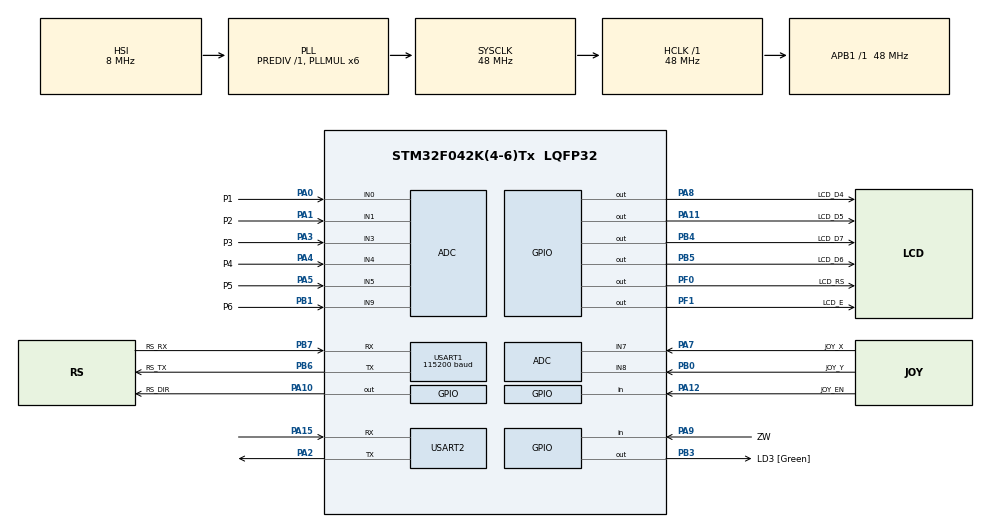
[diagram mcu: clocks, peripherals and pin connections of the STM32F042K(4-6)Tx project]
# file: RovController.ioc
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ADC.ContinuousConvMode=ENABLE
ADC.DMAContinuousRequests=ENABLE
ADC.EOCSelection=ADC_EOC_SEQ_CONV
ADC.Overrun=ADC_OVR_DATA_OVERWRITTEN
ADC.SamplingTime=ADC_SAMPLETIME_13CYCLES_5
Dma.ADC.0.Direction=DMA_PERIPH_TO_MEMORY
Dma.ADC.0.Instance=DMA1_Channel1
Dma.ADC.0.MemDataAlignment=DMA_MDATAALIGN_HALFWORD
Dma.ADC.0.MemInc=DMA_MINC_ENABLE
Dma.ADC.0.Mode=DMA_CIRCULAR
Dma.ADC.0.PeriphDataAlignment=DMA_PDATAALIGN_HALFWORD
Dma.ADC.0.PeriphInc=DMA_PINC_DISABLE
Dma.ADC.0.Priority=DMA_PRIORITY_LOW
Dma.Request0=ADC
Mcu.Family=STM32F0
Mcu.Name=STM32F042K(4-6)Tx
Mcu.Package=LQFP32
NVIC.ADC1_IRQn=true\:0\:0\:false\:false\:true\:true
NVIC.DMA1_Channel1_IRQn=true\:0\:0\:false\:false\:true\:false
PA0.GPIO_Label=P1
PA0.Mode=IN0
PA0.Signal=ADC_IN0
PA1.GPIO_Label=P2
PA1.Mode=IN1
PA1.Signal=ADC_IN1
PA10.GPIO_Label=RS_DIR
PA10.Signal=GPIO_Output
PA11.GPIO_Label=LCD_D5
PA11.Signal=GPIO_Output
PA12.GPIO_Label=JOY_EN
PA12.GPIO_PuPd=GPIO_PULLUP
PA12.Signal=GPIO_Input
PA13.GPIO_Label=SWDIO
PA13.Mode=Serial_Wire
PA13.Signal=SYS_SWDIO
PA14.GPIO_Label=SWCLK
PA14.Mode=Serial_Wire
PA14.Signal=SYS_SWCLK
PA15.Mode=Asynchronous
PA15.Signal=USART2_RX
PA2.Mode=Asynchronous
PA2.Signal=USART2_TX
PA3.GPIO_Label=P3
PA3.Mode=IN3
PA3.Signal=ADC_IN3
PA4.GPIO_Label=P4
PA4.Mode=IN4
PA4.Signal=ADC_IN4
PA5.GPIO_Label=P5
PA5.Mode=IN5
PA5.Signal=ADC_IN5
PA7.GPIO_Label=JOY_X
PA7.Mode=IN7
PA7.Signal=ADC_IN7
PA8.GPIO_Label=LCD_D4
PA8.Signal=GPIO_Output
PA9.GPIO_Label=ZW
PA9.GPIO_PuPd=GPIO_PULLUP
PA9.Signal=GPIO_Input
PB0.GPIO_Label=JOY_Y
PB0.Mode=IN8
PB0.Signal=ADC_IN8
PB1.GPIO_Label=P6
PB1.Mode=IN9
PB1.Signal=ADC_IN9
PB3.GPIO_Label=LD3 [Green]
PB3.Signal=GPIO_Output
PB4.GPIO_Label=LCD_D7
PB4.Signal=GPIO_Output
PB5.GPIO_Label=LCD_D6
PB5.Signal=GPIO_Output
PB6.GPIO_Label=RS_TX
PB6.GPIO_PuPd=GPIO_NOPULL
PB6.Mode=Asynchronous
PB6.Signal=USART1_TX
PB7.GPIO_Label=RS_RX
PB7.GPIO_PuPd=GPIO_NOPULL
PB7.Mode=Asynchronous
PB7.Signal=USART1_RX
PF0-OSC_IN.GPIO_Label=LCD_RS
PF0-OSC_IN.Signal=GPIO_Output
PF1-OSC_OUT.GPIO_Label=LCD_E
PF1-OSC_OUT.Signal=GPIO_Output
ProjectManager.HeapSize=0x200
ProjectManager.StackSize=0x400
ProjectManager.TargetToolchain=SW4STM32
RCC.AHBFreq_Value=48000000
RCC.APB1Freq_Value=48000000
RCC.APB1TimFreq_Value=48000000
RCC.HCLKFreq_Value=48000000
RCC.PLLMUL=RCC_PLL_MUL6
RCC.SYSCLKFreq_VALUE=48000000
RCC.SYSCLKSource=RCC_SYSCLKSOURCE_PLLCLK
TIM3.CounterMode=TIM_COUNTERMODE_DOWN
TIM3.Period=0xFFFF
TIM3.Prescaler=47
USART1.BaudRate=115200
USART1.DataInvertParam=ADVFEATURE_DATAINV_DISABLE
USART1.Parity=PARITY_NONE
USART1.TxPinLevelInvertParam=ADVFEATURE_TXINV_DISABLE
USART1.VirtualMode-Asynchronous=VM_ASYNC
USART1.WordLength=WORDLENGTH_8B
USART2.VirtualMode-Asynchronous=VM_ASYNC
VP_TIM3_VS_ClockSourceINT.Mode=Internal
board=NUCLEO-F042K6

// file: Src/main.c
/* USER CODE BEGIN Header */
/**
 ******************************************************************************
 * @file           : main.c
 * @brief          : Main program body
 ******************************************************************************
 ** This notice applies to any and all portions of this file
 * that are not between comment pairs USER CODE BEGIN and
 * USER CODE END. Other portions of this file, whether
 * inserted by the user or by software development tools
 * are owned by their respective copyright owners.
 *
 * COPYRIGHT(c) 2019 STMicroelectronics
 *
 * Redistribution and use in source and binary forms, with or without modification,
 * are permitted provided that the following conditions are met:
 *   1. Redistributions of source code must retain the above copyright notice,
 *      this list of conditions and the following disclaimer.
 *   2. Redistributions in binary form must reproduce the above copyright notice,
 *      this list of conditions and the following disclaimer in the documentation
 *      and/or other materials provided with the distribution.
 *   3. Neither the name of STMicroelectronics nor the names of its contributors
 *      may be used to endorse or promote products derived from this software
 *      without specific prior written permission.
 *
 * THIS SOFTWARE IS PROVIDED BY THE COPYRIGHT HOLDERS AND CONTRIBUTORS "AS IS"
 * AND ANY EXPRESS OR IMPLIED WARRANTIES, INCLUDING, BUT NOT LIMITED TO, THE
 * IMPLIED WARRANTIES OF MERCHANTABILITY AND FITNESS FOR A PARTICULAR PURPOSE ARE
 * DISCLAIMED. IN NO EVENT SHALL THE COPYRIGHT HOLDER OR CONTRIBUTORS BE LIABLE
 * FOR ANY DIRECT, INDIRECT, INCIDENTAL, SPECIAL, EXEMPLARY, OR CONSEQUENTIAL
 * DAMAGES (INCLUDING, BUT NOT LIMITED TO, PROCUREMENT OF SUBSTITUTE GOODS OR
 * SERVICES; LOSS OF USE, DATA, OR PROFITS; OR BUSINESS INTERRUPTION) HOWEVER
 * CAUSED AND ON ANY THEORY OF LIABILITY, WHETHER IN CONTRACT, STRICT LIABILITY,
 * OR TORT (INCLUDING NEGLIGENCE OR OTHERWISE) ARISING IN ANY WAY OUT OF THE USE
 * OF THIS SOFTWARE, EVEN IF ADVISED OF THE POSSIBILITY OF SUCH DAMAGE.
 *
 ******************************************************************************
 */
/* USER CODE END Header */

#include "main.h"

/* USER CODE BEGIN Includes */
#include "lcd.h"
#include "rs485.h"
#include "inputs.h"
#include "frame_parser.h"
/* USER CODE END Includes */

/* USER CODE BEGIN PD */
#define BUFF_SIZE 512
#define RX_LENGTH 10 // rpi wysle komunikt do 50 znakow dopelniony spacjami

/* USER CODE END PD */

UART_HandleTypeDef huart1;
UART_HandleTypeDef huart2;

void SystemClock_Config(void);
static void MX_GPIO_Init(void);
static void MX_DMA_Init(void);
static void MX_USART1_UART_Init(void);
static void MX_ADC_Init(void);
static void MX_USART2_UART_Init(void);
static void MX_TIM3_Init(void);

/* USER CODE BEGIN 0 */

// Callbacki od USARTow
void HAL_UART_TxCpltcallback(UART_HandleTypeDef *huart) {
	if (huart == &huart1) {

	} else if (huart == &huart2) {

	} else {
		// b��d? xd
	}
}
void HAL_UART_RxCpltCallback(UART_HandleTypeDef *huart) {
	if (huart == &huart1) {

	} else if (huart == &huart2) {

	} else {
		// b��d? xd
	}
}

// voltage 8 znakow
void Display(pots_t axes, buttons_t btns, uint8_t* rx_voltage)
{
	LCD1602_clear();
	if (btns.display_motors == 0) {
		if (btns.joy_lock != 0) {
			LCD1602_setCursor(1, 1);
			LCD1602_print("Joy lock!");
		}else{
			LCD1602_setCursor(1, 1);
			LCD1602_PrintInt(axes.joy_x * 100);
			LCD1602_setCursor(1, 7);
			LCD1602_PrintInt(axes.joy_y * 100);
		}

		LCD1602_setCursor(1, 13);
		LCD1602_PrintInt(axes.pot1 * 100);
		LCD1602_setCursor(2, 1);
		LCD1602_print("V_Bat: ");

		LCD1602_print((char*)rx_voltage);

	}else{
		LCD1602_setCursor(1, 1);
		LCD1602_PrintInt(axes.pot1 * 100);
		LCD1602_setCursor(1, 7);
		LCD1602_PrintInt(axes.pot2 * 100);
		LCD1602_setCursor(1, 13);
		LCD1602_PrintInt(axes.pot3 * 100);
		LCD1602_setCursor(2, 1);
		LCD1602_PrintInt(axes.pot4 * 100);
		LCD1602_setCursor(2, 7);
		LCD1602_PrintInt(axes.pot5 * 100);
		LCD1602_setCursor(2, 13);
		LCD1602_PrintInt(axes.pot6 * 100);
	}

}

void str_clear(uint8_t *str, uint32_t length)
{
	while(length-- > 0)
	{
		str[0] = 0;
		str++;
	}

}

/* USER CODE END 0 */

int main(void)
{
  /* USER CODE BEGIN 1 */

	uint8_t msg_buff[BUFF_SIZE];
	uint32_t msg_buff_length;

	uint8_t rx_data[BUFF_SIZE];

	uint16_t adc_reads_raw[8];
	pots_t adc_reads; // Surowe dane z adc
	pots_t filtered;  // Dane przefiltrowane
	pots_t axes; 	  // Zamienione na zakres <-1 : 1> bez deadzone
	pots_t axes_deadzone;	  // Zamienione na zakres <-1 : 1> z deadzonem, do wyswietlenia

	buttons_t buttons; // Stany przycisków

	pots_zero(&adc_reads);
	pots_zero(&filtered);
	pots_zero(&axes);
	pots_zero(&axes_deadzone);

	// pomiar czasu
	uint32_t tick_display = 0; 	// czas odliczający do kolejnego wyświetlenia
	uint32_t tick_vbat = 0; 	// czas do kolejnego apytania o baterie

	str_clear(rx_data, BUFF_SIZE);

  /* USER CODE END 1 */

  /* MCU Configuration--------------------------------------------------------*/

  /* Reset of all peripherals, Initializes the Flash interface and the Systick. */
  HAL_Init();

  /* Configure the system clock */
  SystemClock_Config();

  /* Initialize all configured peripherals */
  MX_GPIO_Init();
  MX_DMA_Init();
  MX_USART1_UART_Init();
  MX_ADC_Init();
  MX_USART2_UART_Init();
  MX_TIM3_Init();
  /* USER CODE BEGIN 2 */

	LCD1602_Begin4BIT();
	LCD1602_noCursor();
	LCD1602_noBlink();

	pots_start(&adc_reads_raw);
	uint32_t tick = 0;
  /* USER CODE END 2 */

  /* Infinite loop */
  /* USER CODE BEGIN WHILE */
	volatile uint8_t tx_buffer[200];
	while (1) {
		MX_USART1_UART_Init();
		float* pots_adc = (float*)&adc_reads;

		for(int i=0; i<8; i++)
			pots_adc[i] = adc_reads_raw[i];

		read_buttons(&buttons);

		pots_filter(&adc_reads, &filtered, p_def, q_def);

		if(buttons.joy_lock != 0){
			// Joy disabledtoken
			axes.joy_x = 0.0f;
			axes.joy_y = 0.0f;

			axes_deadzone.joy_x = 0.0f;
			axes_deadzone.joy_y = 0.0f;
		}else{
			// Joy enabled
			axes.joy_x = -calculate_axis(filtered.joy_x, 0.0f);
			axes.joy_y = calculate_axis(filtered.joy_y, 0.0f);

			axes_deadzone.joy_x = -calculate_axis(filtered.joy_x, 0.08f);
			axes_deadzone.joy_y = calculate_axis(filtered.joy_y, 0.08f);
		}

		axes_deadzone.pot1 = calculate_axis(filtered.pot1, 0.02f);
		axes.pot1 = calculate_axis(filtered.pot1, 0.0f);

		axes_deadzone.pot2 = calculate_axis(filtered.pot2, 0.02f);
		axes.pot2 = calculate_axis(filtered.pot2, 0.0f);

		axes_deadzone.pot3 = calculate_axis(filtered.pot3, 0.02f);
		axes.pot3 = calculate_axis(filtered.pot3, 0.0f);

		axes_deadzone.pot4 = calculate_axis(filtered.pot4, 0.02f);
		axes.pot4 = calculate_axis(filtered.pot4, 0.0f);

		axes_deadzone.pot5 = calculate_axis(filtered.pot5, 0.02f);
		axes.pot5 = calculate_axis(filtered.pot5, 0.0f);

		axes_deadzone.pot6 = calculate_axis(filtered.pot6, 0.02f);
		axes.pot6 = calculate_axis(filtered.pot6, 0.0f);

		float z3 = axes.pot6;
		z3 = axes.pot1 * axes.pot6;

		// Wysyłanie do BlueRova wartości
		/*msg_buff_length = sprintf(msg_buff,
				"SET;%.3f;%.3f;%.3f;%.3f;%.3f;%.3f;%.3f;%.3f;\n", // 3 decimal point precision
				axes.joy_x, axes.joy_y,
				axes.pot1,	axes.pot2, axes.pot3,
				axes.pot4, axes.pot5, z3);
*/
		controll_data_t ctrl;

		ctrl.thrusters[0] = axes.pot1;
		ctrl.thrusters[1] = axes.pot2;
		ctrl.thrusters[2] = axes.pot3;
		ctrl.thrusters[3] = axes.pot4;
		ctrl.thrusters[4] = axes.pot5;

		volatile frame_t frame = Parser_CreateControlFrame(&ctrl);

		Parser_CreateTxBuffer(&frame, tx_buffer, 200);

		RS_Transmit(&huart1, tx_buffer, 200);

		// 3s (60 tickow po 50ms)
		if(tick - tick_vbat > 20)
		{
			HAL_Delay(50);
			Parser_CreateVoltageRequest(tx_buffer, 200);
			RS_Transmit(&huart1, tx_buffer, 200);

			volatile HAL_StatusTypeDef ret = RS_Receive(&huart1, rx_data, 100, 200);

			voltage_data_t volt;
			frame_t frame;

			if(Parser_ReadFrame(rx_data, 100, &frame) == PARSER_COMPLETE)
			{
				if(Parser_ParseVoltageData(&frame, &volt) == PARSER_COMPLETE)
				{
					for(int i=0;i<8; i++)
					{
						rx_data[i] = volt.v_txt[i];
					}
					rx_data[8] = 0;
					rx_data[9] = 0;
				}

			}

			tick_vbat = tick;
		}else
		{
			HAL_Delay(50);
		}

		tick++;
		// 20 ms / 50 Hz
		//if(tick - tick_display > 20)
		{
			Display(axes_deadzone, buttons, rx_data);
			tick_display = tick;
		}
		LL_GPIO_TogglePin(LD3_GPIO_Port, LD3_Pin);

    /* USER CODE END WHILE */

	}
}

void SystemClock_Config(void)
{
  RCC_OscInitTypeDef RCC_OscInitStruct = {0};
  RCC_ClkInitTypeDef RCC_ClkInitStruct = {0};
  RCC_PeriphCLKInitTypeDef PeriphClkInit = {0};

  /**Initializes the CPU, AHB and APB busses clocks
  */
  RCC_OscInitStruct.OscillatorType = RCC_OSCILLATORTYPE_HSI|RCC_OSCILLATORTYPE_HSI14;
  RCC_OscInitStruct.HSIState = RCC_HSI_ON;
  RCC_OscInitStruct.HSI14State = RCC_HSI14_ON;
  RCC_OscInitStruct.HSICalibrationValue = RCC_HSICALIBRATION_DEFAULT;
  RCC_OscInitStruct.HSI14CalibrationValue = 16;
  RCC_OscInitStruct.PLL.PLLState = RCC_PLL_ON;
  RCC_OscInitStruct.PLL.PLLSource = RCC_PLLSOURCE_HSI;
  RCC_OscInitStruct.PLL.PLLMUL = RCC_PLL_MUL6;
  RCC_OscInitStruct.PLL.PREDIV = RCC_PREDIV_DIV1;
  if (HAL_RCC_OscConfig(&RCC_OscInitStruct) != HAL_OK)
  {
    Error_Handler();
  }
  /**Initializes the CPU, AHB and APB busses clocks
  */
  RCC_ClkInitStruct.ClockType = RCC_CLOCKTYPE_HCLK|RCC_CLOCKTYPE_SYSCLK
                              |RCC_CLOCKTYPE_PCLK1;
  RCC_ClkInitStruct.SYSCLKSource = RCC_SYSCLKSOURCE_PLLCLK;
  RCC_ClkInitStruct.AHBCLKDivider = RCC_SYSCLK_DIV1;
  RCC_ClkInitStruct.APB1CLKDivider = RCC_HCLK_DIV1;

  if (HAL_RCC_ClockConfig(&RCC_ClkInitStruct, FLASH_LATENCY_1) != HAL_OK)
  {
    Error_Handler();
  }
  PeriphClkInit.PeriphClockSelection = RCC_PERIPHCLK_USART1;
  PeriphClkInit.Usart1ClockSelection = RCC_USART1CLKSOURCE_PCLK1;
  if (HAL_RCCEx_PeriphCLKConfig(&PeriphClkInit) != HAL_OK)
  {
    Error_Handler();
  }
}

static void MX_ADC_Init(void)
{

  LL_ADC_InitTypeDef ADC_InitStruct = {0};
  LL_ADC_REG_InitTypeDef ADC_REG_InitStruct = {0};

  LL_GPIO_InitTypeDef GPIO_InitStruct = {0};

  /* Peripheral clock enable */
  LL_APB1_GRP2_EnableClock(LL_APB1_GRP2_PERIPH_ADC1);

  LL_AHB1_GRP1_EnableClock(LL_AHB1_GRP1_PERIPH_GPIOA);
  LL_AHB1_GRP1_EnableClock(LL_AHB1_GRP1_PERIPH_GPIOB);
  /**ADC GPIO Configuration
  PA0   ------> ADC_IN0
  PA1   ------> ADC_IN1
  PA3   ------> ADC_IN3
  PA4   ------> ADC_IN4
  PA5   ------> ADC_IN5
  PA7   ------> ADC_IN7
  PB0   ------> ADC_IN8
  PB1   ------> ADC_IN9
  */
  GPIO_InitStruct.Pin = P1_Pin;
  GPIO_InitStruct.Mode = LL_GPIO_MODE_ANALOG;
  GPIO_InitStruct.Pull = LL_GPIO_PULL_NO;
  LL_GPIO_Init(P1_GPIO_Port, &GPIO_InitStruct);

  GPIO_InitStruct.Pin = P2_Pin;
  GPIO_InitStruct.Mode = LL_GPIO_MODE_ANALOG;
  GPIO_InitStruct.Pull = LL_GPIO_PULL_NO;
  LL_GPIO_Init(P2_GPIO_Port, &GPIO_InitStruct);

  GPIO_InitStruct.Pin = P3_Pin;
  GPIO_InitStruct.Mode = LL_GPIO_MODE_ANALOG;
  GPIO_InitStruct.Pull = LL_GPIO_PULL_NO;
  LL_GPIO_Init(P3_GPIO_Port, &GPIO_InitStruct);

  GPIO_InitStruct.Pin = P4_Pin;
  GPIO_InitStruct.Mode = LL_GPIO_MODE_ANALOG;
  GPIO_InitStruct.Pull = LL_GPIO_PULL_NO;
  LL_GPIO_Init(P4_GPIO_Port, &GPIO_InitStruct);

  GPIO_InitStruct.Pin = P5_Pin;
  GPIO_InitStruct.Mode = LL_GPIO_MODE_ANALOG;
  GPIO_InitStruct.Pull = LL_GPIO_PULL_NO;
  LL_GPIO_Init(P5_GPIO_Port, &GPIO_InitStruct);

  GPIO_InitStruct.Pin = JOY_X_Pin;
  GPIO_InitStruct.Mode = LL_GPIO_MODE_ANALOG;
  GPIO_InitStruct.Pull = LL_GPIO_PULL_NO;
  LL_GPIO_Init(JOY_X_GPIO_Port, &GPIO_InitStruct);

  GPIO_InitStruct.Pin = JOY_Y_Pin;
  GPIO_InitStruct.Mode = LL_GPIO_MODE_ANALOG;
  GPIO_InitStruct.Pull = LL_GPIO_PULL_NO;
  LL_GPIO_Init(JOY_Y_GPIO_Port, &GPIO_InitStruct);

  GPIO_InitStruct.Pin = P6_Pin;
  GPIO_InitStruct.Mode = LL_GPIO_MODE_ANALOG;
  GPIO_InitStruct.Pull = LL_GPIO_PULL_NO;
  LL_GPIO_Init(P6_GPIO_Port, &GPIO_InitStruct);

  /* ADC DMA Init */

  /* ADC Init */
  LL_DMA_SetDataTransferDirection(DMA1, LL_DMA_CHANNEL_1, LL_DMA_DIRECTION_PERIPH_TO_MEMORY);

  LL_DMA_SetChannelPriorityLevel(DMA1, LL_DMA_CHANNEL_1, LL_DMA_PRIORITY_LOW);

  LL_DMA_SetMode(DMA1, LL_DMA_CHANNEL_1, LL_DMA_MODE_CIRCULAR);

  LL_DMA_SetPeriphIncMode(DMA1, LL_DMA_CHANNEL_1, LL_DMA_PERIPH_NOINCREMENT);

  LL_DMA_SetMemoryIncMode(DMA1, LL_DMA_CHANNEL_1, LL_DMA_MEMORY_INCREMENT);

  LL_DMA_SetPeriphSize(DMA1, LL_DMA_CHANNEL_1, LL_DMA_PDATAALIGN_HALFWORD);

  LL_DMA_SetMemorySize(DMA1, LL_DMA_CHANNEL_1, LL_DMA_MDATAALIGN_HALFWORD);

  /* ADC interrupt Init */
  NVIC_SetPriority(ADC1_IRQn, 0);
  NVIC_EnableIRQ(ADC1_IRQn);

  /**Configure Regular Channel
  */
  LL_ADC_REG_SetSequencerChAdd(ADC1, LL_ADC_CHANNEL_0);
  /**Configure Regular Channel
  */
  LL_ADC_REG_SetSequencerChAdd(ADC1, LL_ADC_CHANNEL_1);
  /**Configure Regular Channel
  */
  LL_ADC_REG_SetSequencerChAdd(ADC1, LL_ADC_CHANNEL_3);
  /**Configure Regular Channel
  */
  LL_ADC_REG_SetSequencerChAdd(ADC1, LL_ADC_CHANNEL_4);
  /**Configure Regular Channel
  */
  LL_ADC_REG_SetSequencerChAdd(ADC1, LL_ADC_CHANNEL_5);
  /**Configure Regular Channel
  */
  LL_ADC_REG_SetSequencerChAdd(ADC1, LL_ADC_CHANNEL_7);
  /**Configure Regular Channel
  */
  LL_ADC_REG_SetSequencerChAdd(ADC1, LL_ADC_CHANNEL_8);
  /**Configure Regular Channel
  */
  LL_ADC_REG_SetSequencerChAdd(ADC1, LL_ADC_CHANNEL_9);
  /**Configure the global features of the ADC (Clock, Resolution, Data Alignment and number of conversion)
  */
  ADC_InitStruct.Clock = LL_ADC_CLOCK_ASYNC;
  ADC_InitStruct.Resolution = LL_ADC_RESOLUTION_12B;
  ADC_InitStruct.DataAlignment = LL_ADC_DATA_ALIGN_RIGHT;
  ADC_InitStruct.LowPowerMode = LL_ADC_LP_MODE_NONE;
  LL_ADC_Init(ADC1, &ADC_InitStruct);
  ADC_REG_InitStruct.TriggerSource = LL_ADC_REG_TRIG_SOFTWARE;
  ADC_REG_InitStruct.SequencerDiscont = LL_ADC_REG_SEQ_DISCONT_DISABLE;
  ADC_REG_InitStruct.ContinuousMode = LL_ADC_REG_CONV_CONTINUOUS;
  ADC_REG_InitStruct.DMATransfer = LL_ADC_REG_DMA_TRANSFER_UNLIMITED;
  ADC_REG_InitStruct.Overrun = LL_ADC_REG_OVR_DATA_OVERWRITTEN;
  LL_ADC_REG_Init(ADC1, &ADC_REG_InitStruct);
  LL_ADC_REG_SetSequencerScanDirection(ADC1, LL_ADC_REG_SEQ_SCAN_DIR_FORWARD);
  LL_ADC_SetSamplingTimeCommonChannels(ADC1, LL_ADC_SAMPLINGTIME_13CYCLES_5);
  LL_ADC_DisableIT_EOC(ADC1);
  LL_ADC_DisableIT_EOS(ADC1);

}

static void MX_TIM3_Init(void)
{

  LL_TIM_InitTypeDef TIM_InitStruct = {0};

  /* Peripheral clock enable */
  LL_APB1_GRP1_EnableClock(LL_APB1_GRP1_PERIPH_TIM3);

  TIM_InitStruct.Prescaler = 47;
  TIM_InitStruct.CounterMode = LL_TIM_COUNTERMODE_DOWN;
  TIM_InitStruct.Autoreload = 0xFFFF;
  TIM_InitStruct.ClockDivision = LL_TIM_CLOCKDIVISION_DIV1;
  LL_TIM_Init(TIM3, &TIM_InitStruct);
  LL_TIM_DisableARRPreload(TIM3);
  LL_TIM_SetClockSource(TIM3, LL_TIM_CLOCKSOURCE_INTERNAL);
  LL_TIM_SetTriggerOutput(TIM3, LL_TIM_TRGO_RESET);
  LL_TIM_DisableMasterSlaveMode(TIM3);

}

static void MX_USART1_UART_Init(void)
{

  huart1.Instance = USART1;
  huart1.Init.BaudRate = 115200;
  huart1.Init.WordLength = UART_WORDLENGTH_8B;
  huart1.Init.StopBits = UART_STOPBITS_1;
  huart1.Init.Parity = UART_PARITY_NONE;
  huart1.Init.Mode = UART_MODE_TX_RX;
  huart1.Init.HwFlowCtl = UART_HWCONTROL_NONE;
  huart1.Init.OverSampling = UART_OVERSAMPLING_16;
  huart1.Init.OneBitSampling = UART_ONE_BIT_SAMPLE_DISABLE;
  huart1.AdvancedInit.AdvFeatureInit = UART_ADVFEATURE_NO_INIT;
  if (HAL_UART_Init(&huart1) != HAL_OK)
  {
    Error_Handler();
  }

}

static void MX_USART2_UART_Init(void)
{

  huart2.Instance = USART2;
  huart2.Init.BaudRate = 38400;
  huart2.Init.WordLength = UART_WORDLENGTH_8B;
  huart2.Init.StopBits = UART_STOPBITS_1;
  huart2.Init.Parity = UART_PARITY_NONE;
  huart2.Init.Mode = UART_MODE_TX_RX;
  huart2.Init.HwFlowCtl = UART_HWCONTROL_NONE;
  huart2.Init.OverSampling = UART_OVERSAMPLING_16;
  huart2.Init.OneBitSampling = UART_ONE_BIT_SAMPLE_DISABLE;
  huart2.AdvancedInit.AdvFeatureInit = UART_ADVFEATURE_NO_INIT;
  if (HAL_UART_Init(&huart2) != HAL_OK)
  {
    Error_Handler();
  }

}

static void MX_DMA_Init(void)
{
  /* Init with LL driver */
  /* DMA controller clock enable */
  LL_AHB1_GRP1_EnableClock(LL_AHB1_GRP1_PERIPH_DMA1);

  /* DMA interrupt init */
  /* DMA1_Channel1_IRQn interrupt configuration */
  NVIC_SetPriority(DMA1_Channel1_IRQn, 0);
  NVIC_EnableIRQ(DMA1_Channel1_IRQn);

}

static void MX_GPIO_Init(void)
{
  LL_GPIO_InitTypeDef GPIO_InitStruct = {0};

  /* GPIO Ports Clock Enable */
  LL_AHB1_GRP1_EnableClock(LL_AHB1_GRP1_PERIPH_GPIOF);
  LL_AHB1_GRP1_EnableClock(LL_AHB1_GRP1_PERIPH_GPIOA);
  LL_AHB1_GRP1_EnableClock(LL_AHB1_GRP1_PERIPH_GPIOB);

  /**/
  LL_GPIO_ResetOutputPin(LCD_RS_GPIO_Port, LCD_RS_Pin);

  /**/
  LL_GPIO_ResetOutputPin(LCD_E_GPIO_Port, LCD_E_Pin);

  /**/
  LL_GPIO_ResetOutputPin(LCD_D4_GPIO_Port, LCD_D4_Pin);

  /**/
  LL_GPIO_ResetOutputPin(RS_DIR_GPIO_Port, RS_DIR_Pin);

  /**/
  LL_GPIO_ResetOutputPin(LCD_D5_GPIO_Port, LCD_D5_Pin);

  /**/
  LL_GPIO_ResetOutputPin(LD3_GPIO_Port, LD3_Pin);

  /**/
  LL_GPIO_ResetOutputPin(LCD_D7_GPIO_Port, LCD_D7_Pin);

  /**/
  LL_GPIO_ResetOutputPin(LCD_D6_GPIO_Port, LCD_D6_Pin);

  /**/
  GPIO_InitStruct.Pin = LCD_RS_Pin;
  GPIO_InitStruct.Mode = LL_GPIO_MODE_OUTPUT;
  GPIO_InitStruct.Speed = LL_GPIO_SPEED_FREQ_LOW;
  GPIO_InitStruct.OutputType = LL_GPIO_OUTPUT_PUSHPULL;
  GPIO_InitStruct.Pull = LL_GPIO_PULL_NO;
  LL_GPIO_Init(LCD_RS_GPIO_Port, &GPIO_InitStruct);

  /**/
  GPIO_InitStruct.Pin = LCD_E_Pin;
  GPIO_InitStruct.Mode = LL_GPIO_MODE_OUTPUT;
  GPIO_InitStruct.Speed = LL_GPIO_SPEED_FREQ_LOW;
  GPIO_InitStruct.OutputType = LL_GPIO_OUTPUT_PUSHPULL;
  GPIO_InitStruct.Pull = LL_GPIO_PULL_NO;
  LL_GPIO_Init(LCD_E_GPIO_Port, &GPIO_InitStruct);

  /**/
  GPIO_InitStruct.Pin = LCD_D4_Pin;
  GPIO_InitStruct.Mode = LL_GPIO_MODE_OUTPUT;
  GPIO_InitStruct.Speed = LL_GPIO_SPEED_FREQ_LOW;
  GPIO_InitStruct.OutputType = LL_GPIO_OUTPUT_PUSHPULL;
  GPIO_InitStruct.Pull = LL_GPIO_PULL_NO;
  LL_GPIO_Init(LCD_D4_GPIO_Port, &GPIO_InitStruct);

  /**/
  GPIO_InitStruct.Pin = ZW_Pin;
  GPIO_InitStruct.Mode = LL_GPIO_MODE_INPUT;
  GPIO_InitStruct.Pull = LL_GPIO_PULL_UP;
  LL_GPIO_Init(ZW_GPIO_Port, &GPIO_InitStruct);

  /**/
  GPIO_InitStruct.Pin = RS_DIR_Pin;
  GPIO_InitStruct.Mode = LL_GPIO_MODE_OUTPUT;
  GPIO_InitStruct.Speed = LL_GPIO_SPEED_FREQ_LOW;
  GPIO_InitStruct.OutputType = LL_GPIO_OUTPUT_PUSHPULL;
  GPIO_InitStruct.Pull = LL_GPIO_PULL_NO;
  LL_GPIO_Init(RS_DIR_GPIO_Port, &GPIO_InitStruct);

  /**/
  GPIO_InitStruct.Pin = LCD_D5_Pin;
  GPIO_InitStruct.Mode = LL_GPIO_MODE_OUTPUT;
  GPIO_InitStruct.Speed = LL_GPIO_SPEED_FREQ_LOW;
  GPIO_InitStruct.OutputType = LL_GPIO_OUTPUT_PUSHPULL;
  GPIO_InitStruct.Pull = LL_GPIO_PULL_NO;
  LL_GPIO_Init(LCD_D5_GPIO_Port, &GPIO_InitStruct);

  /**/
  GPIO_InitStruct.Pin = JOY_EN_Pin;
  GPIO_InitStruct.Mode = LL_GPIO_MODE_INPUT;
  GPIO_InitStruct.Pull = LL_GPIO_PULL_UP;
  LL_GPIO_Init(JOY_EN_GPIO_Port, &GPIO_InitStruct);

  /**/
  GPIO_InitStruct.Pin = LD3_Pin;
  GPIO_InitStruct.Mode = LL_GPIO_MODE_OUTPUT;
  GPIO_InitStruct.Speed = LL_GPIO_SPEED_FREQ_LOW;
  GPIO_InitStruct.OutputType = LL_GPIO_OUTPUT_PUSHPULL;
  GPIO_InitStruct.Pull = LL_GPIO_PULL_NO;
  LL_GPIO_Init(LD3_GPIO_Port, &GPIO_InitStruct);

  /**/
  GPIO_InitStruct.Pin = LCD_D7_Pin;
  GPIO_InitStruct.Mode = LL_GPIO_MODE_OUTPUT;
  GPIO_InitStruct.Speed = LL_GPIO_SPEED_FREQ_LOW;
  GPIO_InitStruct.OutputType = LL_GPIO_OUTPUT_PUSHPULL;
  GPIO_InitStruct.Pull = LL_GPIO_PULL_NO;
  LL_GPIO_Init(LCD_D7_GPIO_Port, &GPIO_InitStruct);

  /**/
  GPIO_InitStruct.Pin = LCD_D6_Pin;
  GPIO_InitStruct.Mode = LL_GPIO_MODE_OUTPUT;
  GPIO_InitStruct.Speed = LL_GPIO_SPEED_FREQ_LOW;
  GPIO_InitStruct.OutputType = LL_GPIO_OUTPUT_PUSHPULL;
  GPIO_InitStruct.Pull = LL_GPIO_PULL_NO;
  LL_GPIO_Init(LCD_D6_GPIO_Port, &GPIO_InitStruct);

}

void Error_Handler(void)
{
}

/************************ (C) COPYRIGHT STMicroelectronics *****END OF FILE****/
